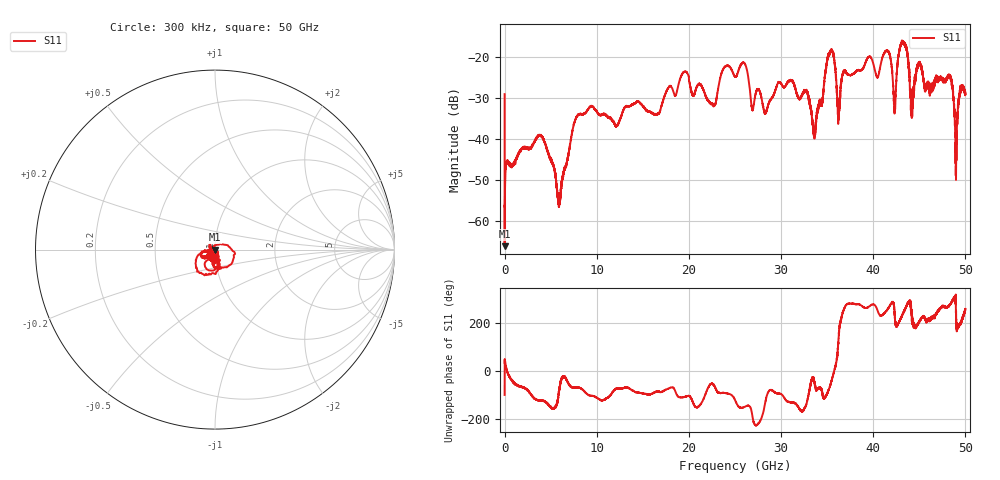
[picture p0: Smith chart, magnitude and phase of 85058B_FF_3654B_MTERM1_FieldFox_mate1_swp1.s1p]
!Created with skrf (http://scikit-rf.org).
# Hz S RI R 50.0
!freq ReS11 ImS11
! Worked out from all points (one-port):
!   10001 points, 300 kHz to 50 GHz, reference 50 ohm
!   lowest |S11| = -66.0 dB at 5.3 MHz (marker M1), VSWR 1.00, Z = 50 - j0.00572 ohm
!   |S11| at or under -10 dB: start of sweep to end of sweep
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300000  -0.00585 -0.035
5299970  0.000496 -5.71e-05
2.552985e8  0.00531 0.000135
3.850277e9  -0.00593 -0.0094
5.830265e9  -0.000448 -0.00158
6.250262e9  0.00318 -0.00161
7.955252e9  0.00726 -0.0184
1.250022e10  0.00479 -0.0167
1.875019e10  -0.00926 -0.0396
2.265516e10  0.0148 -0.0216
2.500015e10  -0.0297 -0.0499
2.601514e10  -0.0738 -0.0426
2.686514e10  -0.0227 0.0012
2.829513e10  -0.0125 -0.0163
3.125011e10  -0.0339 -0.0381
3.35951e10  0.00773 -0.00767
3.532009e10  0.0572 -0.1013
3.624008e10  -0.0144 0.0152
3.750008e10  0.0137 -0.0584
4.151505e10  -0.0269 -0.1176
4.232005e10  -0.00944 -0.0187
4.302004e10  -0.1057 -0.1028
4.375004e10  0.0261 -0.0986
4.421003e10  -0.0159 -0.0176
4.495003e10  -0.0792 -0.0308
4.830501e10  0.00941 -0.0551
4.898501e10  -0.00285 -0.00175
5e10  -0.00565 -0.0358
